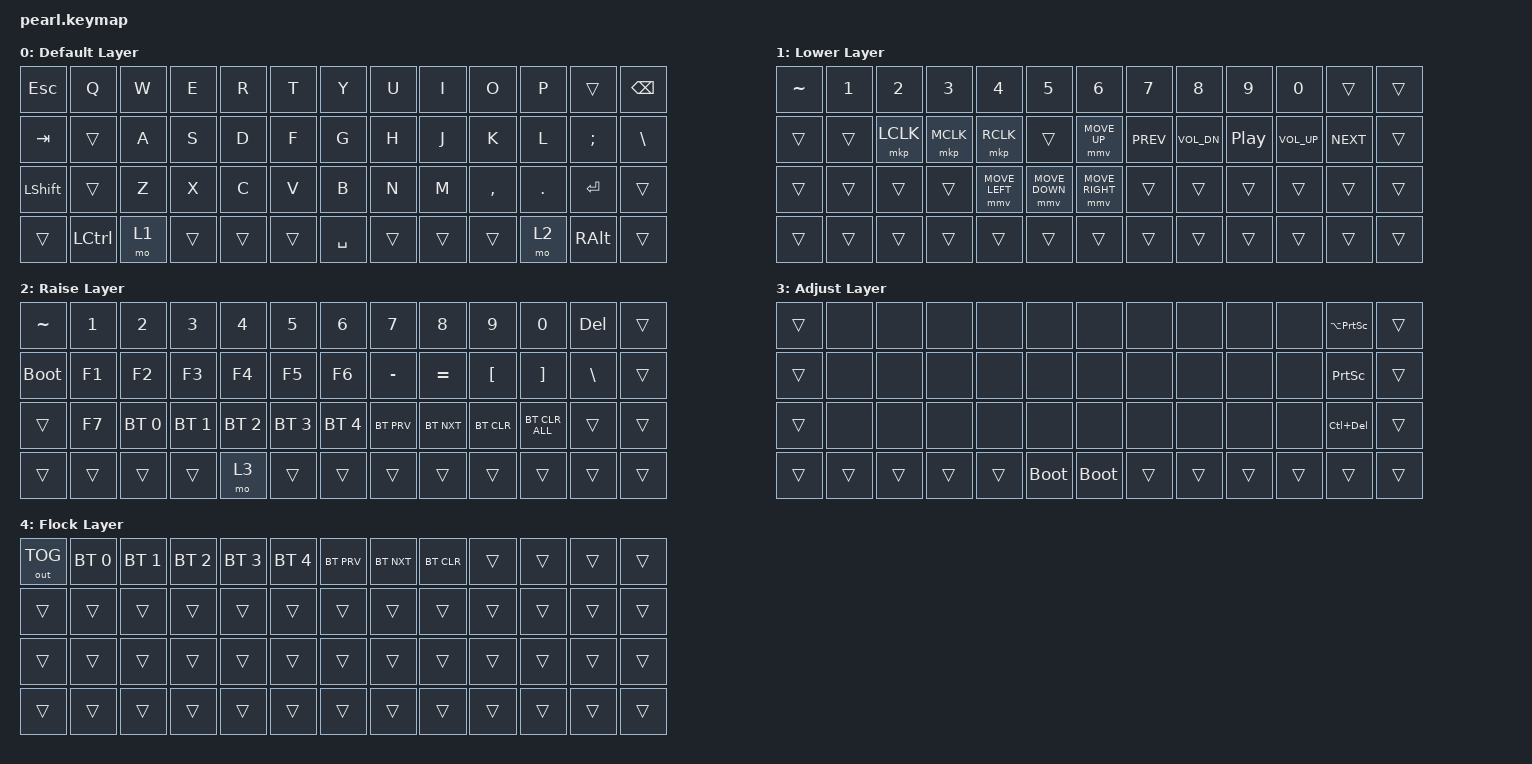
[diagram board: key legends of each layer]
/*
 * Copyright (c) 2021 The ZMK Contributors
 *
 * SPDX-License-Identifier: MIT
 */

#include <behaviors.dtsi>
#include <dt-bindings/zmk/keys.h>
#include <dt-bindings/zmk/bt.h>
#include <dt-bindings/zmk/outputs.h>
#include <dt-bindings/zmk/pointing.h>


/ {
    keymap {
        compatible = "zmk,keymap";

        default_layer {
            display-name = "Default Layer";
            // ------------------------------------------------------------------------------------------
            // 
            // |  esc  |  Q   |  W   |  E   |  R   |  T   |   Y   |  U    |  I   |  O   |   P  |       |  BSPC |
            // | SHIFT |      |  A   |  S   |  D   |  F   |  G   |   H   |  J    |  K   |  L   |   ;   |  '    |
            // | CTRL  |      |  Z   |  X   |  C   |  V   |  B   |   N   |  M    |  ,   |  .   | trns  |       |
            // |       | ctrl | mo1  |      |      |      | SPACE |      |       |      | UARW | RARW  |       |


            bindings = <
                &kp ESC     &kp Q        &kp W        &kp E       &kp R    &kp T      &kp Y       &kp U       &kp I       &kp O       &kp P       &trans      &kp BSPC
                &kp TAB     &trans       &kp A        &kp S       &kp D    &kp F      &kp G       &kp H       &kp J       &kp K       &kp L       &kp SEMI    &kp BSLH    
                &kp LSHIFT  &trans       &kp Z        &kp X       &kp C    &kp V      &kp B       &kp N       &kp M       &kp COMMA   &kp DOT     &kp ENTER    &trans   
                &trans      &kp LCTRL    &mo 1        &trans      &trans   &trans     &kp SPACE   &trans      &trans      &trans      &mo 2       &kp RALT    &trans
            >;
        };

        lower_layer {
            display-name = "Lower Layer";
            // -------------------------------------------------------------------------------------------
            // |  ESC  |  F2  |  F3  |  F4  |  F5  |  F6  |   F7  |  F8   |  F9  | F10  |  F11  |  F12  |
            // |   ~   |  !   |  @   |  #   |  $   |  %   |   ^   |   &   |  *   |  (   |   )   |  DEL  |
            // |       |  F1  |  F2  |  F3  |  F4  |  F5  |   F6  |   _   |  +   |  {   |   }   |   |   |
            // |       |  F7  |  F8  |  F9  |  F10 |  F11 |   F12 | LS(#) |LS(|) |      |       |       |
            // |       |      |      |      |      |      |       |       | NEXT | Vol- | Vol+ | PLAY   |
            bindings = <
                &kp TILDE         &kp N1       &kp N2       &kp N3      &kp N4             &kp N5             &kp N6          &kp N7          &kp N8           &kp N9       &kp N0         &trans    &trans
                &trans            &trans       &mkp LCLK    &mkp MCLK    &mkp RCLK         &trans             &mmv MOVE_UP       &kp C_PREV     &kp C_VOL_DN        &kp C_PLAY_PAUSE &kp C_VOL_UP     &kp C_NEXT  &trans 
                &trans            &trans       &trans       &trans      &mmv MOVE_LEFT     &mmv MOVE_DOWN     &mmv MOVE_RIGHT &trans         &trans            &trans       &trans         &trans    &trans
                &trans            &trans       &trans       &trans      &trans             &trans             &trans          &trans          &trans           &trans       &trans         &trans    &trans
            >;
        };

        raise_layer {
            display-name = "Raise Layer";
            // ------------------------------------------------------------------------------------------
            // |  ESC  |  F2  |  F3  |  F4  |  F5  |  F6  |  F7   |  F8   |  F9  | F10  |  F11  |  F12  |
            // |   ~   |  1   |  2   |  3   |  4   |  5   |  6    |   7   |  8   |  9   |   0   |  DEL  |
            // |  DEL  |  F1  |  F2  |  F3  |  F4  |  F5  |  F6   |   -   |  =   |  [   |   ]   |   \   |
            // |       |  F7  |  F8  |  F9  |  F10 |  F11 |  F12  |   #   |  |   |      |       |       |
            // |       |      |      |      |      |      |       |       |       |      |      |       |
            bindings = <
                &kp TILDE     &kp N1   &kp N2       &kp N3       &kp N4            &kp N5            &kp N6          &kp N7          &kp N8          &kp N9       &kp N0           &kp DEL    &trans
                &bootloader   &kp F1   &kp F2       &kp F3       &kp F4            &kp F5            &kp F6          &kp MINUS       &kp EQUAL       &kp LBKT     &kp RBKT         &kp BSLH    &trans
                &trans        &kp F7   &bt BT_SEL 0 &bt BT_SEL 1 &bt BT_SEL 2      &bt BT_SEL 3      &bt BT_SEL 4    &bt BT_PRV      &bt BT_NXT   &bt BT_CLR       &bt BT_CLR_ALL     &trans    &trans
                &trans   &trans   &trans   &trans    &mo 3   &trans &trans &trans    &trans          &trans          &trans       &trans    &trans
            >;
        };

        adjust_layer {
            display-name = "Adjust Layer";
            // ------------------------------------------------------------------------------------------
            // |tog(4)|  F2  |  F3  |  F4  |  F5  |  F6  |  F7  |  F8  |  F9  |  F10 |  F11 |    F12    |
            // |      |  NA  |  NA  |  NA  |  NA  |  NA  |  NA  |  NA  |  NA  |  NA  |  NA  |LALT(PRTSN)|
            // |      |  NA  |  NA  |  NA  |  NA  |  NA  |  NA  |  NA  |  NA  |  NA  |  NA  |   PRTSN   |
            // |      |  NA  |  NA  |  NA  |  NA  |  NA  |  NA  |  NA  |  NA  |  NA  |  NA  |LCTRL(DEL) |
            // |      |      |      |      |      |BOOTLD|BOOTLD|      |      |      |      |           |
            bindings = <
                &trans &none  &none  &none  &none  &none  &none  &none  &none  &none   &none   &kp LA(PSCRN)    &trans
                &trans &none  &none  &none  &none  &none  &none  &none  &none  &none   &none   &kp PSCRN    &trans
                &trans &none  &none  &none  &none  &none  &none  &none  &none  &none   &none   &kp LC(DEL)    &trans
                &trans &trans &trans &trans &trans &bootloader   &bootloader &trans &trans &trans &trans  &trans    &trans
            >;
        };

        flock_layer {
            display-name = "Flock Layer";
            // ----------------------------------------------------------------------------------------------
            // |tog(4) |  F2    |   F3   |   F4   |   F5   |   F6   |  F7  |  F8  |  F9  | F10 | F11 |      |
            // |out tog|BT_SEL 0|BT_SEL 1|BT_SEL 2|BT_SEL 3|BT_SEL 4|BT_PRV|BT_NXT|BT_CLR|     |     |      |
            // |       |        |        |        |        |        |      |      |      |     |     |      |
            // |       |        |        |        |        |        |      |      |      |     |     |      |
            // |       |        |        |        |        |        |      |      |      |     |     |      |
            bindings = <
                &out OUT_TOG &bt BT_SEL 0 &bt BT_SEL 1 &bt BT_SEL 2 &bt BT_SEL 3 &bt BT_SEL 4 &bt BT_PRV &bt BT_NXT &bt BT_CLR &trans  &trans  &trans    &trans
                &trans       &trans       &trans       &trans       &trans       &trans       &trans     &trans     &trans     &trans  &trans  &trans    &trans
                &trans       &trans       &trans       &trans       &trans       &trans       &trans     &trans     &trans     &trans  &trans  &trans    &trans
                &trans       &trans       &trans       &trans       &trans       &trans       &trans     &trans     &trans     &trans  &trans  &trans    &trans
            >;
        };
    };
};
